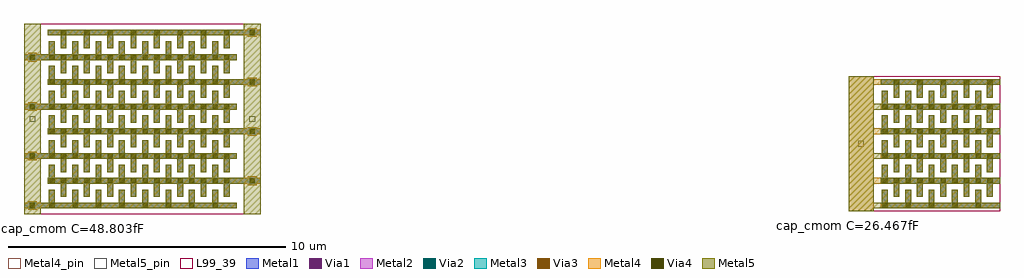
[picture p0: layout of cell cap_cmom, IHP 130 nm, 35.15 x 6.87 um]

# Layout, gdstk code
import gdstk
lib = gdstk.Library(unit=1e-6, precision=1e-09)
def R(c, l, rs):  # rectangles x0, y0, x1, y1
    for r in rs: c.add(gdstk.rectangle(r[:2], r[2:], *l))
def A(c, l, x, y, w, h, nx, ny, dx, dy):  # array of equal rectangles
    R(c, l, [(x+i*dx, y+j*dy, x+i*dx+w, y+j*dy+h) for i in range(nx) for j in range(ny)])
Metal1 = (8, 0)
Metal2 = (10, 0)
Via1 = (19, 0)
Via2 = (29, 0)
Metal3 = (30, 0)
Via3 = (49, 0)
Metal4 = (50, 0)
Metal4_pin = (50, 2)
Via4 = (66, 0)
Metal5 = (67, 0)
Metal5_pin = (67, 2)
L99_39 = (99, 39)

cap_cmom = lib.new_cell('cap_cmom')
A(cap_cmom, Metal1, -0.755, -0.155, 0.31, 0.31, 1, 4, 0, 1.78)
A(cap_cmom, Metal1, -0.9, -0.105, 7.67, 0.21, 1, 4, 0, 1.78)
A(cap_cmom, Metal1, 29.95, -0.105, 4.3, 0.21, 1, 6, 0, 0.89)
A(cap_cmom, Metal1, 0, 0, 0.21, 0.575, 8, 7, 0.84, 0.89)
A(cap_cmom, Metal1, 30, 0, 0.21, 0.575, 5, 5, 0.84, 0.89)
A(cap_cmom, Metal1, 0.42, 0.315, 0.21, 0.575, 8, 7, 0.84, 0.89)
A(cap_cmom, Metal1, 30.42, 0.315, 0.21, 0.575, 5, 5, 0.84, 0.89)
A(cap_cmom, Metal1, 7.165, 0.735, 0.31, 0.31, 1, 4, 0, 1.78)
A(cap_cmom, Metal1, -0.05, 0.785, 7.67, 0.21, 1, 4, 0, 1.78)
A(cap_cmom, Metal2, -0.755, -0.155, 0.31, 0.31, 1, 4, 0, 1.78)
A(cap_cmom, Metal2, -0.9, -0.105, 7.67, 0.21, 1, 4, 0, 1.78)
A(cap_cmom, Metal2, 29.95, -0.105, 4.3, 0.21, 1, 6, 0, 0.89)
A(cap_cmom, Metal2, 0, 0, 0.21, 0.575, 8, 7, 0.84, 0.89)
A(cap_cmom, Metal2, 30, 0, 0.21, 0.575, 5, 5, 0.84, 0.89)
A(cap_cmom, Metal2, 0.42, 0.315, 0.21, 0.575, 8, 7, 0.84, 0.89)
A(cap_cmom, Metal2, 30.42, 0.315, 0.21, 0.575, 5, 5, 0.84, 0.89)
A(cap_cmom, Metal2, 7.165, 0.735, 0.31, 0.31, 1, 4, 0, 1.78)
A(cap_cmom, Metal2, -0.05, 0.785, 7.67, 0.21, 1, 4, 0, 1.78)
A(cap_cmom, Via1, -0.695, -0.095, 0.19, 0.19, 1, 4, 0, 1.78)
A(cap_cmom, Via1, 0.01, -0.095, 0.19, 0.19, 8, 1, 0.84, 0)
A(cap_cmom, Via1, 30.01, -0.095, 0.19, 0.19, 5, 1, 0.84, 0)
A(cap_cmom, Via1, 0.01, 0.795, 0.19, 0.19, 16, 6, 0.42, 0.89)
A(cap_cmom, Via1, 7.225, 0.795, 0.19, 0.19, 1, 4, 0, 1.78)
A(cap_cmom, Via1, 30.01, 0.795, 0.19, 0.19, 10, 4, 0.42, 0.89)
A(cap_cmom, Via1, 30.43, 4.355, 0.19, 0.19, 5, 1, 0.84, 0)
A(cap_cmom, Via1, 0.43, 6.135, 0.19, 0.19, 8, 1, 0.84, 0)
A(cap_cmom, Via2, -0.695, -0.095, 0.19, 0.19, 1, 4, 0, 1.78)
A(cap_cmom, Via2, 0.01, -0.095, 0.19, 0.19, 8, 1, 0.84, 0)
A(cap_cmom, Via2, 30.01, -0.095, 0.19, 0.19, 5, 1, 0.84, 0)
A(cap_cmom, Via2, 0.01, 0.795, 0.19, 0.19, 16, 6, 0.42, 0.89)
A(cap_cmom, Via2, 7.225, 0.795, 0.19, 0.19, 1, 4, 0, 1.78)
A(cap_cmom, Via2, 30.01, 0.795, 0.19, 0.19, 10, 4, 0.42, 0.89)
A(cap_cmom, Via2, 30.43, 4.355, 0.19, 0.19, 5, 1, 0.84, 0)
A(cap_cmom, Via2, 0.43, 6.135, 0.19, 0.19, 8, 1, 0.84, 0)
A(cap_cmom, Metal3, -0.755, -0.155, 0.31, 0.31, 1, 4, 0, 1.78)
A(cap_cmom, Metal3, -0.9, -0.105, 7.67, 0.21, 1, 4, 0, 1.78)
A(cap_cmom, Metal3, 29.95, -0.105, 4.3, 0.21, 1, 6, 0, 0.89)
A(cap_cmom, Metal3, 0, 0, 0.21, 0.575, 8, 7, 0.84, 0.89)
A(cap_cmom, Metal3, 30, 0, 0.21, 0.575, 5, 5, 0.84, 0.89)
A(cap_cmom, Metal3, 0.42, 0.315, 0.21, 0.575, 8, 7, 0.84, 0.89)
A(cap_cmom, Metal3, 30.42, 0.315, 0.21, 0.575, 5, 5, 0.84, 0.89)
A(cap_cmom, Metal3, 7.165, 0.735, 0.31, 0.31, 1, 4, 0, 1.78)
A(cap_cmom, Metal3, -0.05, 0.785, 7.67, 0.21, 1, 4, 0, 1.78)
A(cap_cmom, Via3, -0.695, -0.095, 0.19, 0.19, 1, 4, 0, 1.78)
A(cap_cmom, Via3, 0.01, -0.095, 0.19, 0.19, 8, 1, 0.84, 0)
A(cap_cmom, Via3, 30.01, -0.095, 0.19, 0.19, 5, 1, 0.84, 0)
A(cap_cmom, Via3, 0.01, 0.795, 0.19, 0.19, 16, 6, 0.42, 0.89)
A(cap_cmom, Via3, 7.225, 0.795, 0.19, 0.19, 1, 4, 0, 1.78)
A(cap_cmom, Via3, 30.01, 0.795, 0.19, 0.19, 10, 4, 0.42, 0.89)
A(cap_cmom, Via3, 30.43, 4.355, 0.19, 0.19, 5, 1, 0.84, 0)
A(cap_cmom, Via3, 0.43, 6.135, 0.19, 0.19, 8, 1, 0.84, 0)
A(cap_cmom, Metal4, -0.755, -0.155, 0.31, 0.31, 1, 4, 0, 1.78)
A(cap_cmom, Metal4, -0.9, -0.105, 7.67, 0.21, 1, 4, 0, 1.78)
A(cap_cmom, Metal4, 29.95, -0.105, 4.3, 0.21, 1, 3, 0, 1.78)
A(cap_cmom, Metal4, 0, 0, 0.21, 0.575, 8, 7, 0.84, 0.89)
A(cap_cmom, Metal4, 30, 0, 0.21, 0.575, 5, 5, 0.84, 0.89)
A(cap_cmom, Metal4, 0.42, 0.315, 0.21, 0.575, 8, 7, 0.84, 0.89)
A(cap_cmom, Metal4, 30.42, 0.315, 0.21, 0.575, 5, 5, 0.84, 0.89)
A(cap_cmom, Metal4, 7.165, 0.735, 0.31, 0.31, 1, 4, 0, 1.78)
A(cap_cmom, Metal4, -0.05, 0.785, 7.67, 0.21, 1, 4, 0, 1.78)
A(cap_cmom, Metal4, 28.8, 0.785, 5.45, 0.21, 1, 3, 0, 1.78)
R(cap_cmom, Metal4, [(28.8,-0.21,29.7,4.66)])
R(cap_cmom, Metal4_pin, [(29.15,2.12,29.35,2.33)])
A(cap_cmom, Via4, -0.695, -0.095, 0.19, 0.19, 1, 4, 0, 1.78)
A(cap_cmom, Via4, 0.01, -0.095, 0.19, 0.19, 8, 1, 0.84, 0)
A(cap_cmom, Via4, 30.01, -0.095, 0.19, 0.19, 5, 1, 0.84, 0)
A(cap_cmom, Via4, 0.01, 0.795, 0.19, 0.19, 16, 6, 0.42, 0.89)
A(cap_cmom, Via4, 7.225, 0.795, 0.19, 0.19, 1, 4, 0, 1.78)
A(cap_cmom, Via4, 30.01, 0.795, 0.19, 0.19, 10, 4, 0.42, 0.89)
A(cap_cmom, Via4, 30.43, 4.355, 0.19, 0.19, 5, 1, 0.84, 0)
A(cap_cmom, Via4, 0.43, 6.135, 0.19, 0.19, 8, 1, 0.84, 0)
A(cap_cmom, Metal5, -0.9, -0.105, 7.67, 0.21, 1, 4, 0, 1.78)
A(cap_cmom, Metal5, 28.8, -0.105, 5.45, 0.21, 1, 3, 0, 1.78)
A(cap_cmom, Metal5, 0, 0, 0.21, 0.575, 8, 7, 0.84, 0.89)
A(cap_cmom, Metal5, 30, 0, 0.21, 0.575, 5, 5, 0.84, 0.89)
A(cap_cmom, Metal5, 0.42, 0.315, 0.21, 0.575, 8, 7, 0.84, 0.89)
A(cap_cmom, Metal5, 30.42, 0.315, 0.21, 0.575, 5, 5, 0.84, 0.89)
A(cap_cmom, Metal5, -0.05, 0.785, 7.67, 0.21, 1, 4, 0, 1.78)
A(cap_cmom, Metal5, 29.95, 0.785, 4.3, 0.21, 1, 3, 0, 1.78)
R(cap_cmom, Metal5, [(-0.9,-0.32,-0.3,6.55), (7.02,-0.32,7.62,6.55), (28.8,-0.21,29.7,4.66)])
R(cap_cmom, Metal5_pin, [(29.15,2.12,29.35,2.33), (-0.7,3.01,-0.5,3.22), (7.22,3.01,7.42,3.22)])
R(cap_cmom, L99_39, [(-0.9,-0.32,7.62,6.55), (28.8,-0.21,34.25,4.66)])
cap_cmom.add(gdstk.Label('cap_cmom C=48.803fF', (-0.9,-0.82), layer=63, texttype=0))
cap_cmom.add(gdstk.Label('cap_cmom C=26.467fF', (28.8,-0.71), layer=63, texttype=0))

lib.write_gds('cap_cmom.gds')
